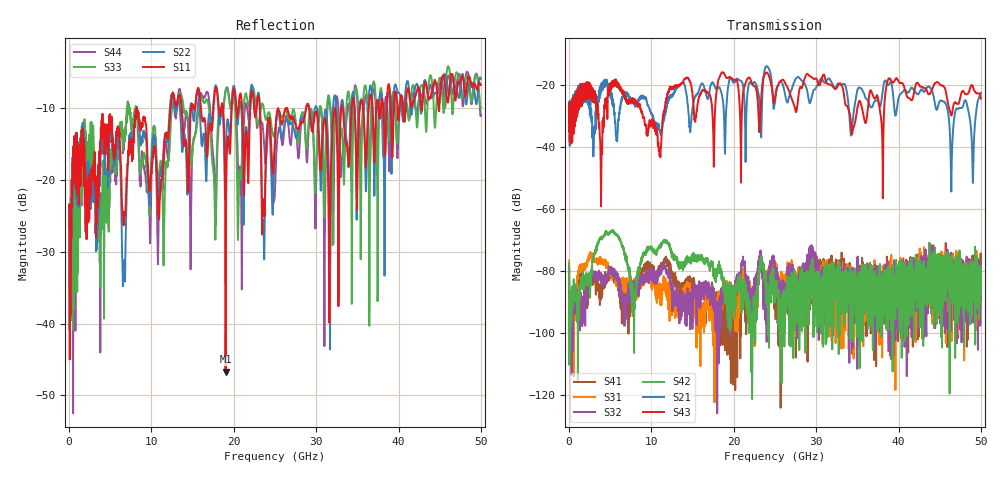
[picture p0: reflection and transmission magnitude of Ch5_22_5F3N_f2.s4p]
!Agilent Technologies,N5247A,US51170199,A.09.90.13
!Agilent N5247A: A.09.90.13
!Date: Wednesday, December 09, 2015 09:36:15
!Correction: S11(Full 4 Port(1,2,3,4))
!S12(Full 4 Port(1,2,3,4))
!S13(Full 4 Port(1,2,3,4))
!S14(Full 4 Port(1,2,3,4))
!S21(Full 4 Port(1,2,3,4))
!S22(Full 4 Port(1,2,3,4))
!S23(Full 4 Port(1,2,3,4))
!S24(Full 4 Port(1,2,3,4))
!S31(Full 4 Port(1,2,3,4))
!S32(Full 4 Port(1,2,3,4))
!S33(Full 4 Port(1,2,3,4))
!S34(Full 4 Port(1,2,3,4))
!S41(Full 4 Port(1,2,3,4))
!S42(Full 4 Port(1,2,3,4))
!S43(Full 4 Port(1,2,3,4))
!S44(Full 4 Port(1,2,3,4))
!S4P File: Measurements: <S11,S12,S13,S14>,
!<S21,S22,S23,S24>,
!<S31,S32,S33,S34>,
!<S41,S42,S43,S44>:
# Hz S  dB  R 50
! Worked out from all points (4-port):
!   3201 points, 10 MHz to 50 GHz, reference 50 ohm
!   strongest paths, dB at 10 MHz, 12.51 GHz, 25 GHz, 37.5 GHz, 50 GHz:
!     S43: -35.0, -21.3, -24.2, -24.1, -24.3
!     S21: -34.4, -23.6, -25.2, -25.0, -22.4
!     S42: -77.6, -74.2, -85.0, -88.3, -80.2
!     S32: -79.6, -88.9, -79.5, -92.4, -88.1
!     S31: -76.6, -88.0, -77.8, -78.9, -86.8
!     S41: -79.3, -81.4, -88.5, -87.9, -80.2
!   lowest |S11| = -46.7 dB at 19.01 GHz (marker M1), VSWR 1.01, Z = 49.8 + j0.424 ohm
!   |S11| at or under -10 dB: start of sweep to 8.22 GHz; 8.243 GHz to 12.3 GHz (4.059 GHz wide, 39.5 % of centre); 29.15 GHz to 33.03 GHz (3.881 GHz wide, 12.5 % of centre)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
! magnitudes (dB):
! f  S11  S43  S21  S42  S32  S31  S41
! 10 MHz  -23.8  -35.0  -34.4  -77.6  -79.6  -76.6  -79.3
! 5.571 GHz  -16.5  -18.3  -32.2  -67.8  -81.1  -79.9  -81.7
! 10.99 GHz  -23.0  -42.8  -34.6  -71.8  -79.7  -84.0  -79.8
! 19.01 GHz  -46.7  -17.1  -33.1  -86.5  -83.9  -84.4  -90.4
! 24.04 GHz  -13.2  -15.9  -13.8  -85.6  -93.8  -84.3  -89.5
! 49.02 GHz  -6.9  -20.4  -50.5  -79.2  -83.4  -88.9  -80.4
! 50 GHz  -6.7  -24.3  -22.4  -80.2  -88.1  -86.8  -80.2
